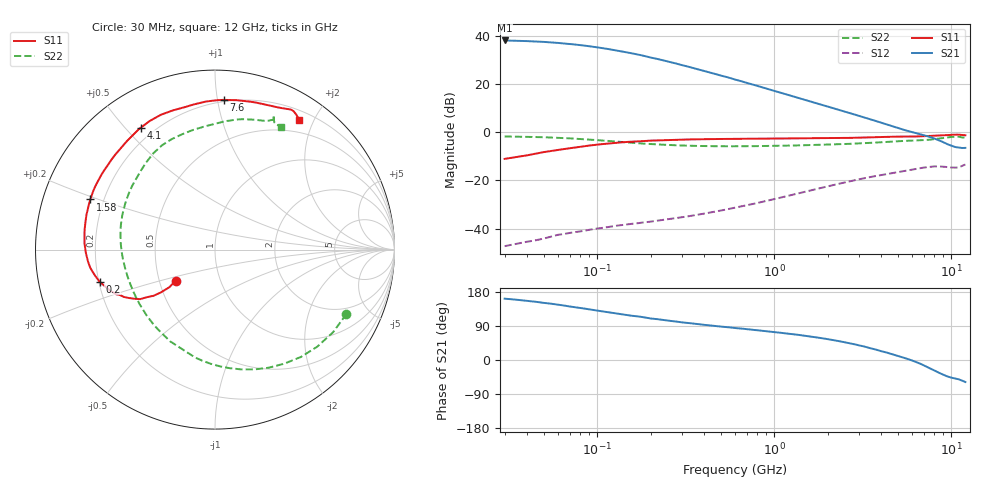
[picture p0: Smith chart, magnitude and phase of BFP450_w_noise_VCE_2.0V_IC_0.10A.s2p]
! Infineon Technologies  Discrete & RF Semiconductors
! BFP450
! VCE =  2.0 V,  IC = 0.10 A
! Common Emitter S-Parameters:  Nov 2015
# GHz  S  MA  R  50
!  f  S11  S21  S12  S22
! GHz  MAG  ANG  MAG  ANG  MAG  ANG  MAG  ANG
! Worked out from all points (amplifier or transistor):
!   239 points, 30 MHz to 12 GHz, reference 50 ohm
!   highest |S21| = 38.1 dB at 30 MHz (marker M1)
!   |S21| within 3 dB of that: start of sweep to 103.2 MHz
!   unconditionally stable (mu >= 1): 868.9 MHz to end of sweep
!   at 300 MHz: K = 0.72, MSG = 31.6 dB, |S12| = -35.3 dB
!   at 1.88 GHz: K = 1.09, MAG = 15.3 dB, |S12| = -23.0 dB
!   at 12 GHz: K = 1.08, MAG = 1.7 dB, |S12| = -13.4 dB
!   lowest NFmin = 2.12 dB at 450 MHz
!   S11 on the Smith chart (normalised r, x): 30 MHz: 0.61, -0.23; 200 MHz: 0.20, -0.13; 1.58 GHz: 0.15, +0.19; 4.1 GHz: 0.15, +0.55; 7.6 GHz: 0.19, +1.04; 12 GHz: 0.32, +1.80
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0.03  0.279 -141.7  80.13 161.9  0.0043 80.3  0.8156 -26.1
0.04  0.3296 -140.5  77.7 156.3  0.0053 75.3  0.803 -35.0
0.05  0.386 -141.7  74.77 150.7  0.0062 71.1  0.7855 -43.5
0.06  0.4287 -143.1  71.25 146.1  0.0074 68.7  0.7662 -51.3
0.07  0.464 -145.1  67.69 141.2  0.0081 64.7  0.7435 -58.7
0.085  0.5134 -147.6  62.57 135.6  0.009 62.2  0.712 -68.6
0.105  0.5617 -151.7  56.21 128.9  0.0102 58.9  0.6743 -80.1
0.13  0.6048 -155.7  49.3 122.2  0.0115 56.6  0.6362 -92.3
0.15  0.6292 -158.9  44.6 117.8  0.0123 55.3  0.6115 -100.4
0.2  0.6677 -164.5  35.45 109.6  0.0139 54.2  0.5689 -116.1
0.24  0.6835 -167.7  30.5 105.2  0.0153 54.5  0.5472 -125.1
0.3  0.7021 -171.7  24.71 99.4  0.0171 55.4  0.529 -136.0
0.36  0.7108 -174.7  20.8 95.4  0.019 56.6  0.5188 -143.7
0.45  0.7193 -178.3  16.62 90.4  0.022 58.1  0.5117 -152.6
0.6  0.728 177.2  12.37 84.4  0.027 59.9  0.5097 -162.5
1  0.7373 168.3  7.178 73.7  0.0408 60.7  0.5197 -178.1
1.58  0.7485 158.1  4.394 62.4  0.0609 56.8  0.5382 167.7
1.64  0.7494 157.2  4.222 61.3  0.0629 56.2  0.5402 166.5
4.1  0.7949 121.4  1.531 22.3  0.1305 28.0  0.6219 127.1
4.5  0.8035 117.0  1.369 17.0  0.1384 24.0  0.6372 122.6
7.6  0.8357 86.6  0.79 -22.4  0.1912 -9.3  0.6999 90.4
12  0.8623 57.0  0.472 -58.1  0.2131 -41.2  0.7773 61.7
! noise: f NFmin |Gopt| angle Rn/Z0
0.45  2.12  0.64  -172  0.07
0.9  2.18  0.66  -166  0.08
1.9  2.27  0.68  -150  0.16
2.4  2.36  0.67  -140  0.24
